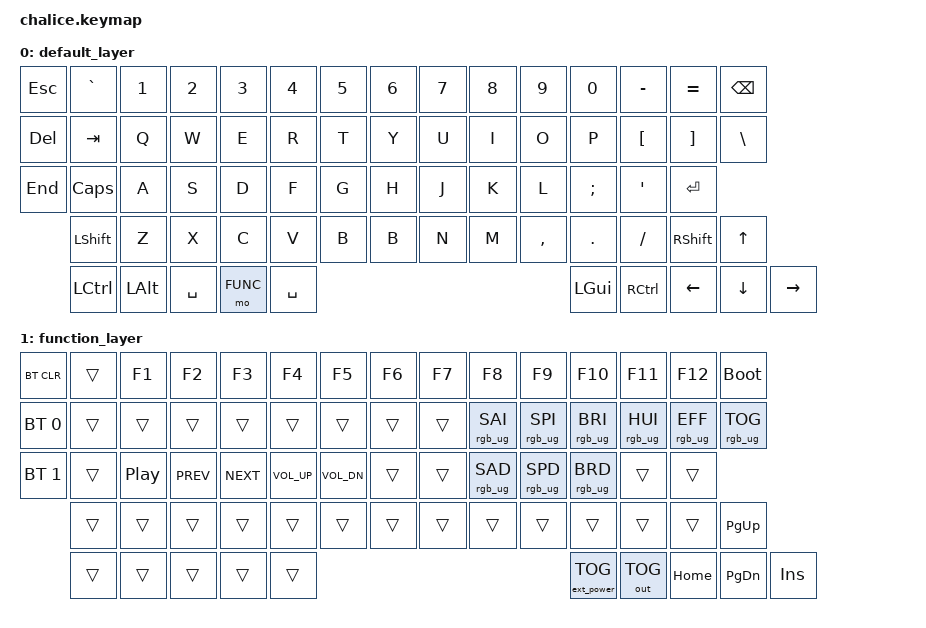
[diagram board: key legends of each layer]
/*
 * Copyright (c) 2020 The ZMK Contributors
 * SPDX-License-Identifier: MIT
 */

#include <behaviors.dtsi>
#include <dt-bindings/zmk/keys.h>
#include <dt-bindings/zmk/bt.h>
#include <dt-bindings/zmk/rgb.h>
#include <dt-bindings/zmk/outputs.h>
#include <dt-bindings/zmk/ext_power.h>

#define QWERTY 0
#define FUNC 1

/ {
        keymap {
                compatible = "zmk,keymap";

                default_layer {

                        bindings = <
   &kp ESC         &kp GRAVE   &kp N1       &kp N2       &kp N3       &kp N4       &kp N5       &kp N6       &kp N7       &kp N8       &kp N9       &kp N0       &kp MINUS    &kp EQUAL    &kp BSPC
   &kp DEL         &kp TAB     &kp Q        &kp W        &kp E        &kp R        &kp T        &kp Y        &kp U        &kp I        &kp O        &kp P        &kp LBKT     &kp RBKT     &kp BSLH
   &kp END         &kp CAPS    &kp A        &kp S        &kp D        &kp F        &kp G        &kp H        &kp J        &kp K        &kp L        &kp SEMI     &kp SQT      &kp ENTER                    
                   &kp LSHFT   &kp Z        &kp X        &kp C        &kp V        &kp B        &kp B        &kp N        &kp M        &kp COMMA    &kp DOT      &kp SLASH    &kp RSHFT    &kp UP
                   &kp LCTRL                &kp LALT                  &kp SPACE    &mo FUNC                  &kp SPACE                 &kp LEFT_GUI              &kp RCTRL    &kp LEFT     &kp DOWN     &kp RIGHT 
                                >;
                        };

                function_layer {

                        bindings = <
   &bt BT_CLR      &trans       &kp F1       &kp F2       &kp F3       &kp F4       &kp F5       &kp F6       &kp F7          &kp F8          &kp F9          &kp F10         &kp F11         &kp F12         &bootloader
   &bt BT_SEL 0    &trans       &trans       &trans       &trans       &trans       &trans       &trans       &trans          &rgb_ug RGB_SAI &rgb_ug RGB_SPI &rgb_ug RGB_BRI &rgb_ug RGB_HUI &rgb_ug RGB_EFF &rgb_ug RGB_TOG
   &bt BT_SEL 1    &trans       &kp C_PP     &kp C_PREV   &kp C_NEXT   &kp C_VOL_UP &kp C_VOL_DN &trans       &trans          &rgb_ug RGB_SAD &rgb_ug RGB_SPD &rgb_ug RGB_BRD &trans          &trans    
                   &trans       &trans       &trans       &trans       &trans       &trans       &trans       &trans          &trans          &trans          &trans          &trans          &trans          &kp PG_UP
                   &trans                    &trans                    &trans       &trans                    &trans                          &ext_power EP_TOG    	      &out OUT_TOG    &kp HOME        &kp PG_DN        &kp INSERT 
                                >;
                        };
                        
                        
        };
};
